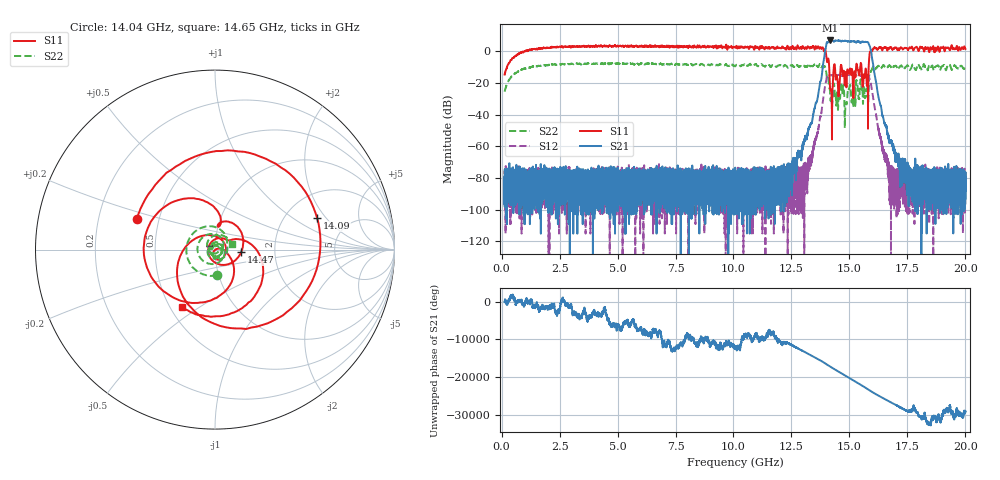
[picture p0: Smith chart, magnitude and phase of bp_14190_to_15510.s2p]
!Created with skrf (http://scikit-rf.org).
# GHz S RI R 50.0
!freq ReS11 ImS11 ReS21 ImS21 ReS12 ImS12 ReS22 ImS22
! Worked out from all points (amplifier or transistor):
!   20013 points, 130 MHz to 20 GHz, reference 50 ohm
!   highest |S21| = 6.9 dB at 14.18 GHz (marker M1)
!   |S21| within 3 dB of that: 14 GHz to 15.86 GHz (1.855 GHz wide, 12.4 % of centre)
!   unconditionally stable (mu >= 1): start of sweep to 969.4 MHz; 13.99 GHz to 15.87 GHz; 18.65363 GHz to 18.67935 GHz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
!   at 3.465 GHz: K = -110011043.08, MSG = 2.3 dB, |S12| = -85.7 dB
!   at 10.14 GHz: K = -100970537.59, MSG = -3.8 dB, |S12| = -79.4 dB
!   at 20 GHz: K = -109318261.52, MSG = -8.8 dB, |S12| = -78.5 dB
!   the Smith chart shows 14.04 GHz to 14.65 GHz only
!   S11 on the Smith chart (normalised r, x): 14.04 GHz: 0.37, +0.16; 14.09 GHz: 2.98, +1.63; 14.47 GHz: 1.34, -0.04; 14.65 GHz: 0.57, -0.43
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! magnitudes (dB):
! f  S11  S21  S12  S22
! 130 MHz  -14.6  -82.6  -79.7  -25.4
! 977 MHz  0.2  -76.3  -88.4  -10.8
! 3.442 GHz  3.1  -80.1  -79.9  -8.1
! 6.754 GHz  3.4  -84.0  -93.7  -7.9
! 10.06 GHz  2.7  -84.0  -92.9  -9.4
! 12.31 GHz  3.2  -74.8  -81.1  -9.6
! 13.09 GHz  2.4  -54.2  -70.9  -9.3
! 13.38 GHz  2.2  -44.9  -66.2  -9.2
! 14.04 GHz  -6.6  5.8  -15.9  -16.8
! 14.09 GHz  -4.5  5.7  -16.3  -16.7
! 14.18 GHz  -24.2  6.9  -15.0  -28.4
! 14.39 GHz  -12.8  6.7  -15.0  -28.6
! 14.47 GHz  -16.7  6.8  -15.0  -26.2
! 14.65 GHz  -8.6  6.2  -15.4  -20.2
! 14.87 GHz  -21.9  6.7  -14.7  -32.8
! 15.29 GHz  -9.1  5.7  -15.4  -19.1
! 15.72 GHz  -12.4  6.0  -15.0  -25.1
! 15.84 GHz  -7.9  4.7  -16.0  -18.5
! 15.98 GHz  0.2  -5.1  -25.4  -10.8
! 16.69 GHz  2.0  -55.2  -77.7  -9.0
! 17.7 GHz  2.9  -79.8  -79.8  -9.1
! 20 GHz  1.6  -96.1  -78.5  -10.1
